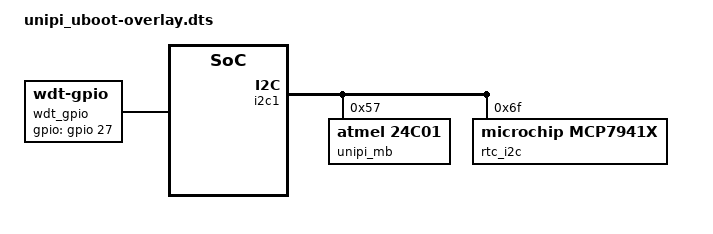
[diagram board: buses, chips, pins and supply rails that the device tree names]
/dts-v1/;
/plugin/;

/ {
	fragment@0 {
		target-path = "/";
		__overlay__ {
			bootcount0 {
				compatible = "u-boot,bootcount-rtc";
				rtc = <&rtc_i2c>;
				offset = <0x20>;
			};

			wdt_gpio: wdt-gpio {
				compatible = "linux,wdt-gpio";
				hw_margin_ms = <4000>;
				hw_algo = "level";
				pinctrl-names = "default";
				timeout-sec = <10>;
				pinctrl-0 = <&wd_pins>;
				gpios = <&gpio 27 0>;
				status = "okay";
			};
		};
	};

	fragment@1 {
		target = <&i2c1>;

		__overlay__ {
			#address-cells = < 0x01 >;
			#size-cells = < 0x00 >;
			status = "okay";

			unipi_mb:24c01@57 {
				compatible = "atmel,24c01";
				reg = <0x57>;
				read-only;
				status = "okay";
			};

			rtc_i2c:mcp7940x@6f {
				compatible = "microchip,mcp7941x";
				reg = <0x6f>;
				status = "okay";
			};
		};
	};

	fragment@2 {
		target-path = "/aliases";
		__overlay__ {
			unipi_mb = &unipi_mb;
		};
	};

	fragment@3 {
		target = <&gpio>;
		__overlay__ {
			wd_pins: wd-pins {
				brcm,pins = <27>;
				brcm,function = <1>;
			};
		};
	};
};
